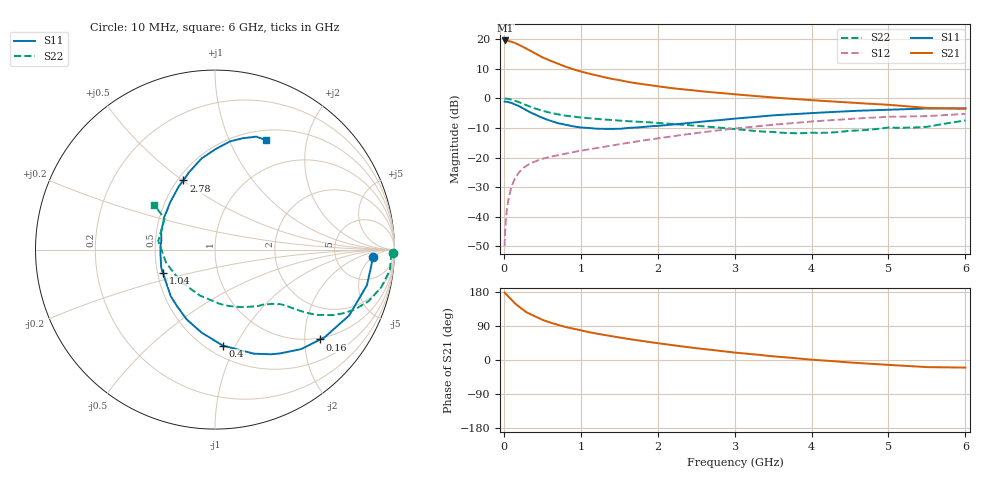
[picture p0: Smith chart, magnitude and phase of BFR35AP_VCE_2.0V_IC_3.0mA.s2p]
! Infineon Technologies  Discrete & RF Semiconductors
! BFR35AP
! VCE =  2.0 V,  IC =  3.0 mA
! Common Emitter S-Parameters:  Nov 2015
# GHz  S  MA  R  50
!  f  S11  S21  S12  S22
! GHz  MAG  ANG  MAG  ANG  MAG  ANG  MAG  ANG
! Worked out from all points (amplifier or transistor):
!   210 points, 10 MHz to 6 GHz, reference 50 ohm
!   highest |S21| = 19.5 dB at 20 MHz (marker M1)
!   |S21| within 3 dB of that: start of sweep to 310.8 MHz
!   unconditionally stable (mu >= 1): 958.1 MHz to 4.274 GHz; 5.144 GHz to end of sweep
!   at 185 MHz: K = 0.28, MSG = 21.8 dB, |S12| = -25.5 dB
!   at 1.52 GHz: K = 1.16, MAG = 8.3 dB, |S12| = -15.4 dB
!   at 6 GHz: K = 1.00, MAG = 0.5 dB, |S12| = -5.3 dB
!   S11 on the Smith chart (normalised r, x): 10 MHz: 14, -5; 160 MHz: 0.96, -2.37; 400 MHz: 0.59, -0.89; 1.04 GHz: 0.53, -0.16; 2.78 GHz: 0.54, +0.50; 6 GHz: 0.62, +1.38
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0.01  0.8789 -2.7  9.343 178.0  0.0032 90.3  0.9946 -1.2
0.02  0.8763 -5.3  9.406 175.4  0.0068 88.4  0.9812 -2.7
0.05  0.8696 -13.2  9.276 169.2  0.0164 83.1  0.9816 -6.6
0.1  0.8325 -26.2  8.975 159.0  0.0322 75.0  0.9496 -12.8
0.15  0.7826 -38.5  8.497 148.4  0.0454 68.7  0.9033 -18.5
0.16  0.7709 -40.5  8.365 146.9  0.0477 67.6  0.8931 -19.3
0.2  0.734 -49.0  7.904 140.2  0.0568 64.1  0.8543 -22.6
0.26  0.6617 -61.8  7.228 130.9  0.0676 59.0  0.7931 -26.7
0.3  0.6193 -69.5  6.78 125.4  0.0736 56.6  0.7531 -29.0
0.4  0.5368 -85.3  5.738 115.3  0.0853 52.2  0.6734 -32.7
0.5  0.4688 -99.1  4.896 106.1  0.0951 49.7  0.6149 -34.8
0.6  0.4196 -112.1  4.311 98.8  0.1024 48.5  0.5687 -36.2
0.8  0.3576 -133.7  3.409 87.2  0.1161 47.4  0.5072 -38.2
1.02  0.3198 -153.9  2.772 77.2  0.1314 47.9  0.4712 -40.2
1.04  0.3183 -155.8  2.731 76.4  0.1329 47.9  0.4685 -40.5
1.4  0.3042 175.3  2.123 62.8  0.1591 48.7  0.4292 -45.1
2.02  0.3431 141.6  1.573 43.9  0.2125 48.0  0.3815 -56.1
2.78  0.4237 114.5  1.236 24.8  0.2858 43.3  0.3213 -77.1
3.1  0.4634 106.6  1.135 17.8  0.3178 40.0  0.2926 -89.3
4.1  0.57 87.9  0.909 -0.5  0.4128 28.3  0.2603 -142.5
5.1  0.6454 74.7  0.756 -14.1  0.4878 14.3  0.3175 166.7
6  0.6726 64.8  0.669 -20.0  0.5427 3.9  0.421 143.7
